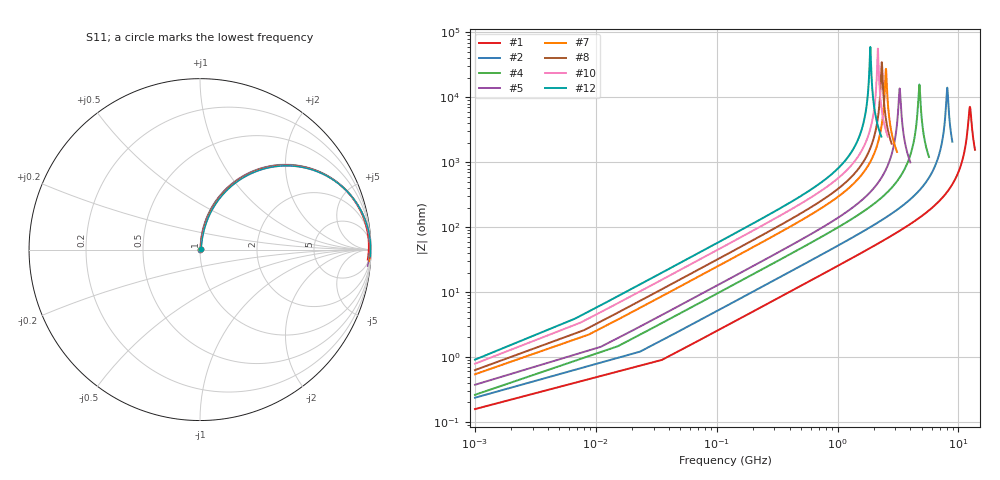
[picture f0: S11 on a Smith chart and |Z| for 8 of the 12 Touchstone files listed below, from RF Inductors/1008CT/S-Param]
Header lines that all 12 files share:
! 17 July 2002
# MHZ S MA R 50
!Freq  MagS11  AngS11  MagS21  AngS21  MagS12  AngS12  MagS22  AngS22
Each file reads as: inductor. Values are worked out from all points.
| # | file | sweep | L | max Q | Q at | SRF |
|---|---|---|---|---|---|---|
| 1 | 10CT040.S2P | 1 MHz to 13.7 GHz | 4 nH | 147 | 3.451 GHz | 12.44 GHz |
| 2 | 10CT080.S2P | 1 MHz to 8.9 GHz | 8.1 nH | 141 | 2.531 GHz | 8.056 GHz |
| 3 | 10CT101.S2P | 1 MHz to 1.9 GHz | 100 nH | 68.3 | 598.2 MHz | 1.56 GHz |
| 4 | 10CT150.S2P | 1 MHz to 5.7 GHz | 15 nH | 103 | 1.564 GHz | 4.733 GHz |
| 5 | 10CT200.S2P | 1 MHz to 4 GHz | 20 nH | 108 | 1.098 GHz | 3.261 GHz |
| 6 | 10CT300.S2P | 1 MHz to 4.1 GHz | 30 nH | 88.6 | 1.319 GHz | 3.844 GHz |
| 7 | 10CT400.S2P | 1 MHz to 3.1 GHz | 39 nH | 89.9 | 920.9 MHz | 2.506 GHz |
| 8 | 10CT500.S2P | 1 MHz to 2.8 GHz | 50 nH | 92.5 | 859.5 MHz | 2.318 GHz |
| 9 | 10CT600.S2P | 1 MHz to 2.7 GHz | 60 nH | 95.4 | 828.8 MHz | 2.202 GHz |
| 10 | 10CT700.S2P | 1 MHz to 2.6 GHz | 70 nH | 84.8 | 843.4 MHz | 2.152 GHz |
| 11 | 10CT800.S2P | 1 MHz to 2.3 GHz | 80 nH | 87 | 688.6 MHz | 1.835 GHz |
| 12 | 10CT900.S2P | 1 MHz to 2.3 GHz | 90 nH | 97 | 705.8 MHz | 1.863 GHz |
